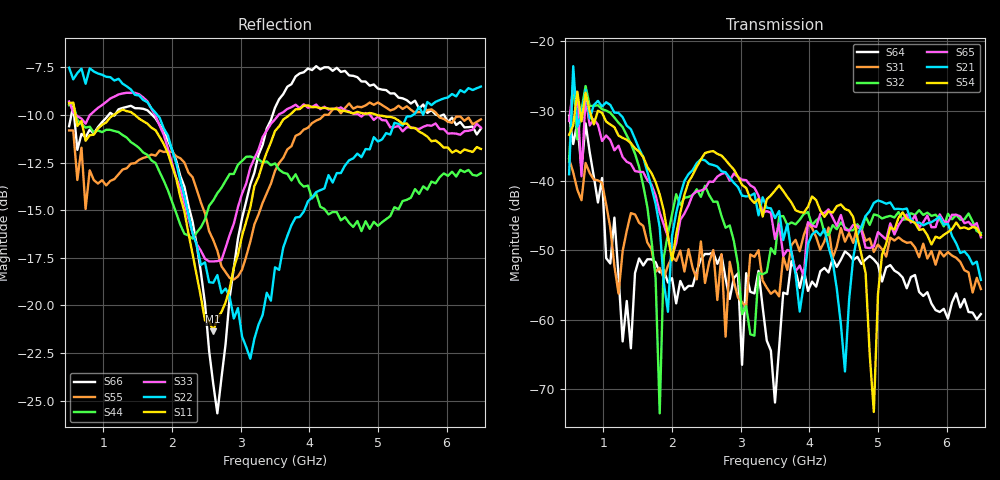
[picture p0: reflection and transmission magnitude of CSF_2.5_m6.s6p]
!Keysight Technologies,M9804A,MY58100912,A.14.10.03
!Date: Thursday, April 27, 2023 10:28:33
!Correction: S11(C  6-Port  )
!S12(C  6-Port  )
!S13(C  6-Port  )
!S14(C  6-Port  )
!S15(C  6-Port  )
!S16(C  6-Port  )
!S21(C  6-Port  )
!S22(C  6-Port  )
!S23(C  6-Port  )
!S24(C  6-Port  )
!S25(C  6-Port  )
!S26(C  6-Port  )
!S31(C  6-Port  )
!S32(C  6-Port  )
!S33(C  6-Port  )
!S34(C  6-Port  )
!S35(C  6-Port  )
!S36(C  6-Port  )
!S41(C  6-Port  )
!S42(C  6-Port  )
!S43(C  6-Port  )
!S44(C  6-Port  )
!S45(C  6-Port  )
!S46(C  6-Port  )
!S51(C  6-Port  )
!S52(C  6-Port  )
!S53(C  6-Port  )
!S54(C  6-Port  )
!S55(C  6-Port  )
!S56(C  6-Port  )
!S61(C  6-Port  )
!S62(C  6-Port  )
!S63(C  6-Port  )
!S64(C  6-Port  )
!S65(C  6-Port  )
!S66(C  6-Port  )
!S6P File: Measurement: :
# Hz S  RI  R 50
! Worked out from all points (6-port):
!   101 points, 500 MHz to 6.5 GHz, reference 50 ohm
!   strongest paths, dB at 500 MHz, 2 GHz, 3.5 GHz, 5 GHz, 6.5 GHz:
!     S54: -33.4, -51.5, -41.4, -56.4, -47.8
!     S21: -39.1, -47.9, -45.4, -42.8, -54.3
!     S65: -31.4, -50.9, -48.4, -47.4, -48.1
!     S32: -37.3, -44.9, -50.5, -45.0, -47.5
!     S31: -36.9, -51.0, -55.8, -49.2, -55.6
!     S64: -30.7, -54.0, -71.9, -52.0, -59.2
!   lowest |S11| = -21.4 dB at 2.6 GHz (marker M1), VSWR 1.19, Z = 42.4 + j2.28 ohm
!   |S11| at or under -10 dB: 592 MHz to 1.147 GHz (554.8 MHz wide, 63.8 % of centre); 1.461 GHz to 3.71 GHz (2.249 GHz wide, 87 % of centre); 4.987 GHz to end of sweep
